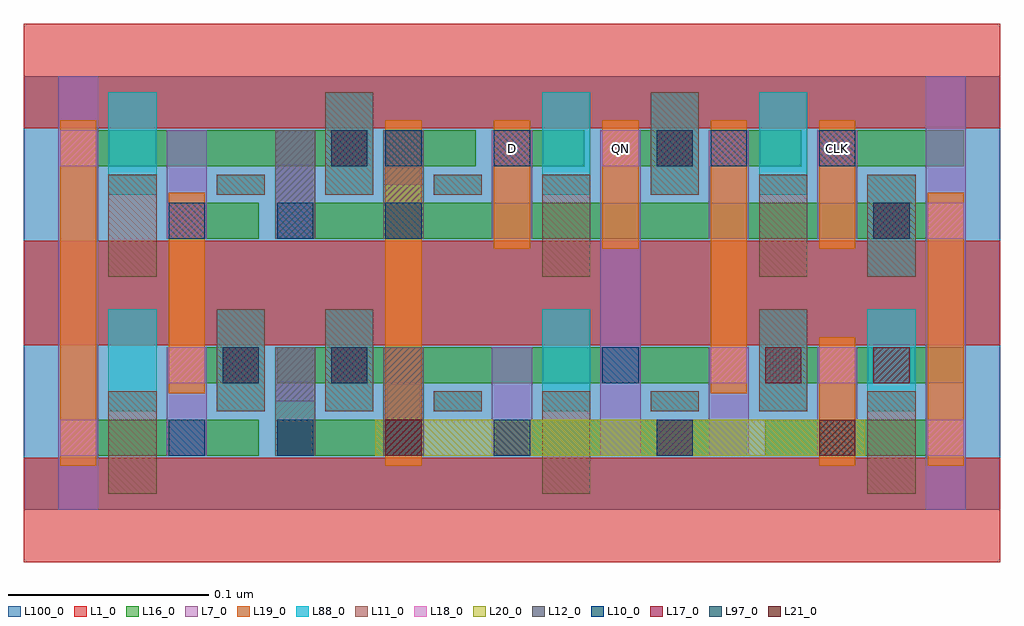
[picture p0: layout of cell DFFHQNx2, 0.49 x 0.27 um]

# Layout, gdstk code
import gdstk
lib = gdstk.Library(unit=1e-6, precision=2.5e-10)
def R(c, l, rs):  # rectangles x0, y0, x1, y1
    for r in rs: c.add(gdstk.rectangle(r[:2], r[2:], *l))
def A(c, l, x, y, w, h, nx, ny, dx, dy):  # array of equal rectangles
    R(c, l, [(x+i*dx, y+j*dy, x+i*dx+w, y+j*dy+h) for i in range(nx) for j in range(ny)])
L1_0 = (1, 0)
L7_0 = (7, 0)
L10_0 = (10, 0)
L11_0 = (11, 0)
L12_0 = (12, 0)
L16_0 = (16, 0)
L17_0 = (17, 0)
L18_0 = (18, 0)
L19_0 = (19, 0)
L20_0 = (20, 0)
L21_0 = (21, 0)
L88_0 = (88, 0)
L97_0 = (97, 0)
L100_0 = (100, 0)

dffhqnx2 = lib.new_cell('DFFHQNx2')
A(dffhqnx2, L1_0, 0, -0.026, 0.486, 0.052, 1, 3, 0, 0.108)
A(dffhqnx2, L7_0, 0.125, 0.135, 0.02, 0.054, 3, 1, 0.108, 0)
R(dffhqnx2, L7_0, [(0.017,0,0.037,0.108), (0.449,0,0.469,0.108), (0.071,0.027,0.091,0.081), (0.179,0.027,0.199,0.081), (0.233,0.027,0.253,0.081), (0.287,0.027,0.307,0.108), (0.341,0.027,0.361,0.081), (0.395,0.027,0.415,0.081), (0.125,0.054,0.145,0.081), (0.017,0.108,0.037,0.216), (0.287,0.108,0.307,0.189), (0.449,0.108,0.469,0.216), (0.071,0.135,0.091,0.189), (0.395,0.135,0.415,0.189), (0.179,0.162,0.199,0.189)])
A(dffhqnx2, L10_0, 0.072, 0.027, 0.018, 0.018, 4, 1, 0.054, 0)
A(dffhqnx2, L10_0, 0.072, 0.135, 0.018, 0.018, 3, 1, 0.054, 0)
R(dffhqnx2, L10_0, [(0.396,0.027,0.414,0.045), (0.288,0.063,0.306,0.081), (0.18,0.171,0.198,0.189), (0.234,0.171,0.252,0.189), (0.342,0.171,0.36,0.189), (0.396,0.171,0.414,0.189)])
R(dffhqnx2, L11_0, [(0.042,0.008,0.066,0.059), (0.258,0.008,0.282,0.059), (0.42,0.008,0.444,0.059), (0.096,0.049,0.12,0.1), (0.15,0.049,0.174,0.1), (0.204,0.049,0.228,0.059), (0.312,0.049,0.336,0.059), (0.366,0.049,0.39,0.1), (0.042,0.116,0.066,0.167), (0.258,0.116,0.282,0.167), (0.366,0.116,0.39,0.167), (0.42,0.116,0.444,0.167), (0.096,0.157,0.12,0.167), (0.15,0.157,0.174,0.208), (0.204,0.157,0.228,0.167), (0.312,0.157,0.336,0.208)])
R(dffhqnx2, L12_0, [(0.125,0.027,0.145,0.081), (0.179,0.027,0.199,0.081), (0.125,0.135,0.145,0.189), (0.179,0.135,0.199,0.189)])
A(dffhqnx2, L16_0, 0.18, 0.171, 0.045, 0.018, 4, 1, 0.054, 0)
R(dffhqnx2, L16_0, [(0.018,0.027,0.117,0.045), (0.126,0.027,0.198,0.045), (0.234,0.027,0.36,0.045), (0.369,0.027,0.468,0.045), (0.072,0.063,0.117,0.081), (0.126,0.063,0.36,0.081), (0.369,0.063,0.468,0.081), (0.072,0.135,0.117,0.153), (0.126,0.135,0.468,0.153), (0.018,0.171,0.171,0.189), (0.396,0.171,0.468,0.189)])
R(dffhqnx2, L17_0, [(0.315,0.027,0.333,0.045), (0.099,0.063,0.117,0.081), (0.153,0.063,0.171,0.081), (0.369,0.063,0.387,0.081), (0.423,0.063,0.441,0.081), (0.423,0.135,0.441,0.153), (0.153,0.171,0.171,0.189), (0.315,0.171,0.333,0.189)])
A(dffhqnx2, L18_0, 0.18, 0.171, 0.018, 0.018, 5, 1, 0.054, 0)
R(dffhqnx2, L18_0, [(0.018,0.027,0.036,0.045), (0.18,0.027,0.198,0.045), (0.45,0.027,0.468,0.045), (0.072,0.063,0.09,0.081), (0.342,0.063,0.36,0.081), (0.396,0.063,0.414,0.081), (0.072,0.135,0.09,0.153), (0.45,0.135,0.468,0.153), (0.018,0.171,0.036,0.189)])
R(dffhqnx2, L19_0, [(0.018,0.022,0.036,0.194), (0.18,0.022,0.198,0.194), (0.396,0.022,0.414,0.086), (0.45,0.022,0.468,0.158), (0.072,0.058,0.09,0.158), (0.342,0.058,0.36,0.194), (0.234,0.13,0.252,0.194), (0.288,0.13,0.306,0.194), (0.396,0.13,0.414,0.194)])
R(dffhqnx2, L20_0, [(0.175,0.027,0.419,0.045)])
R(dffhqnx2, L21_0, [(0.18,0.027,0.198,0.045), (0.396,0.027,0.414,0.045)])
A(dffhqnx2, L88_0, 0.042, 0.049, 0.024, 0.051, 3, 1, 0.054, 0)
A(dffhqnx2, L88_0, 0.042, 0.157, 0.024, 0.051, 3, 1, 0.108, 0)
R(dffhqnx2, L88_0, [(0.204,0.049,0.228,0.059), (0.258,0.049,0.282,0.1), (0.312,0.049,0.336,0.059), (0.366,0.049,0.39,0.1), (0.42,0.049,0.444,0.1), (0.42,0.116,0.444,0.167), (0.096,0.157,0.12,0.167), (0.204,0.157,0.228,0.167), (0.312,0.157,0.336,0.208), (0.366,0.157,0.39,0.208)])
R(dffhqnx2, L97_0, [(0.315,0.027,0.333,0.045), (0.099,0.063,0.117,0.081), (0.153,0.063,0.171,0.081), (0.423,0.135,0.441,0.153), (0.153,0.171,0.171,0.189), (0.315,0.171,0.333,0.189)])
R(dffhqnx2, L100_0, [(0,0,0.486,0.216)])
dffhqnx2.add(gdstk.Label('CLK', (0.405,0.18), layer=19, texttype=251))
dffhqnx2.add(gdstk.Label('D', (0.243,0.18), layer=19, texttype=251))
dffhqnx2.add(gdstk.Label('QN', (0.297,0.18), layer=19, texttype=251))

lib.write_gds('DFFHQNx2.gds')
